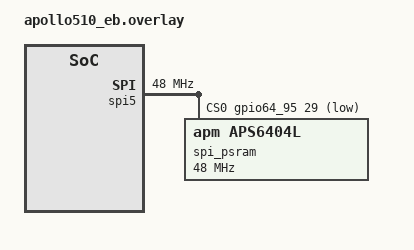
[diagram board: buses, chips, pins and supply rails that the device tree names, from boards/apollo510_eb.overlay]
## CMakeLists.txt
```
# SPDX-License-Identifier: Apache-2.0

cmake_minimum_required(VERSION 3.20.0)
find_package(Zephyr REQUIRED HINTS $ENV{ZEPHYR_BASE})
project(spi_serial_flash)

target_sources(app PRIVATE src/main.c)
```

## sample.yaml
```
sample:
  name: SPI PSRAM Module Sample
tests:
  sample.drivers.spi.apm_aps6404l:
    tags:
      - drivers
      - psram
    harness: psram
    depends_on:
      - gpio
      - spi
    filter: dt_alias_exists("spi_psram")
```

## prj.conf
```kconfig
CONFIG_STDOUT_CONSOLE=y
CONFIG_CBPRINTF_FP_SUPPORT=y
CONFIG_APS6404L=y
CONFIG_SPI=y
CONFIG_MAIN_STACK_SIZE=4096
CONFIG_HEAP_MEM_POOL_SIZE=16384
CONFIG_NO_OPTIMIZATIONS=y
```

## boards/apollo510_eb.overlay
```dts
/*
 * Copyright (c) 2025, Ambiq Micro Inc. <www.ambiq.com>
 *
 * SPDX-License-Identifier: Apache-2.0
 */

/ {
	aliases {
		spi-psram = &spi_psram;
	};
};

&iom5 {
	cmdq-buffer-location = "SRAM_NO_CACHE";
	cmdq-buffer-size = <256>;

	spi5: spi {
		pinctrl-0 = <&spi5_default>;
		pinctrl-names = "default";
		cs-gpios = <&gpio64_95 29 GPIO_ACTIVE_LOW>;
		clock-frequency = <DT_FREQ_M(48)>;
		status = "okay";
		spi_psram: aps6404l@0 {
			compatible = "apm,aps6404l";
			reg = <0>;
			spi-max-frequency = <48000000>;
		};
	};
};
```

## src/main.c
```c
/*
 * Copyright (c) 2025 Ambiq Micro Inc. <www.ambiq.com>
 *
 * SPDX-License-Identifier: Apache-2.0
 */

#include <stdio.h>
#include <stdlib.h>

#include <zephyr/kernel.h>
#include <zephyr/device.h>
#include <zephyr/devicetree.h>
#include <zephyr/sys/util_macro.h>
#include <zephyr/drivers/gpio.h>
#include <zephyr/drivers/spi.h>
#include <zephyr/drivers/flash.h>
#include <zephyr/sys/util.h>
#include <zephyr/logging/log.h>

LOG_MODULE_REGISTER(spi_serial_flash, CONFIG_SPI_LOG_LEVEL);

#define DT_DRV_COMPAT apm_aps6404l

#define TEST_ADDRESS 0x10

/*
 * A build error on these lines means your board is unsupported.
 * See the sample documentation for information on how to fix this.
 */
const struct device *aps6404l_dev = DEVICE_DT_GET(DT_ALIAS(spi_psram));

#define TRANSACTION_SIZE 128

#define MAX_TRANS_SIZE (TRANSACTION_SIZE)
static uint8_t g_pucInBuffer[TRANSACTION_SIZE * 2];
static uint8_t g_pucOutBuffer[TRANSACTION_SIZE * 2];

static int load_buffers(int offset, int num_addr, int repeatCount)
{
	/* Returns number of bytes loaded */
	int ix = 0;

	/* Initialize the buffer section which will be used - to initialize out and in different */
	for (ix = offset; ix < num_addr + offset; ix++) {
		g_pucOutBuffer[ix] = (ix - offset) & 0xFF;
		g_pucInBuffer[ix] = ~g_pucOutBuffer[ix];
	}

	return ix;
}

static bool compare_buffers(uint32_t offset, int num_addr, int repeatCount)
{
	/* Compare the output buffer with input buffer */
	for (uint32_t i = offset; i < offset + num_addr; i++) {
		if (g_pucInBuffer[i] != g_pucOutBuffer[i]) {
			LOG_ERR("Buffer miscompare at location %d\n", i);
			LOG_ERR("TX Value = %2X | RX Value = %2X\n", g_pucOutBuffer[i],
				g_pucInBuffer[i]);
			LOG_ERR("TX:\n");
			for (uint32_t k = 0; k < num_addr; k++) {
				LOG_ERR("%2X ", g_pucOutBuffer[offset + k]);
				if ((k % 64) == 0) {
					LOG_ERR("\n");
				}
			}
			LOG_ERR("\n");
			LOG_ERR("RX:\n");
			for (uint32_t k = 0; k < num_addr; k++) {
				LOG_ERR("%2X ", g_pucInBuffer[offset + k]);
				if ((k % 64) == 0) {
					LOG_ERR("\n");
				}
			}
			LOG_ERR("\n");
			return false;
		}
	}
	return true;
}

extern int aps6404l_write(const struct device *dev, uint8_t *pui8TxBuffer,
			  uint32_t ui32WriteAddress, uint32_t ui32NumBytes);
extern int aps6404l_read(const struct device *dev, uint8_t *pui8RxBuffer, uint32_t ui32ReadAddress,
			 uint32_t ui32NumBytes);

void erase_address_space(const struct device *dev)
{
	/* Set the buffer to the PSRAM device. */
	int ret = aps6404l_write(aps6404l_dev, &g_pucOutBuffer[0], TEST_ADDRESS, TRANSACTION_SIZE);

	if (ret == 0) {
		printk("\nAPS6404L Erase Write PASSED\n");

		/* Read the buffer from the PSRAM device. */
		ret = aps6404l_read(aps6404l_dev, &g_pucInBuffer[0], TEST_ADDRESS,
				    TRANSACTION_SIZE);
	} else {
		LOG_ERR("APS6404L EraseWrite FAILED\n");
	}

	/* Compare the receive buffer to the transmit buffer. */
	if (ret || !compare_buffers(0, TRANSACTION_SIZE, 0)) {
		LOG_ERR("APS6404L Erase Read or compare_buffers FAILED\n");
	} else {
		printk("APS6404L Erase Read PASSED\n");
	}
}

int main(void)
{
	int ret = 0;

	if (!device_is_ready(aps6404l_dev)) {
		return -1;
	}

	memset(g_pucOutBuffer, 0xFF, TRANSACTION_SIZE);
	erase_address_space(aps6404l_dev);

	/* Create the transmit buffer to write. */
	load_buffers(0, TRANSACTION_SIZE, 0);

	/* Write the buffer to the PSRAM device. */
	ret = aps6404l_write(aps6404l_dev, g_pucOutBuffer, TEST_ADDRESS, TRANSACTION_SIZE);

	if (ret == 0) {
		printk("\nAPS6404L Write PASSED\n");

		/* Read the buffer from the PSRAM device. */
		ret = aps6404l_read(aps6404l_dev, g_pucInBuffer, TEST_ADDRESS, TRANSACTION_SIZE);
	} else {
		LOG_ERR("APS6404L Write FAILED\n");
	}

	/* Compare the receive buffer to the transmit buffer. */
	if (ret || !compare_buffers(0, TRANSACTION_SIZE, 0)) {
		LOG_ERR("APS6404L Read or compare_buffers FAILED\n");
	} else {
		printk("APS6404L Read PASSED\n");
	}

	return 0;
}
```
